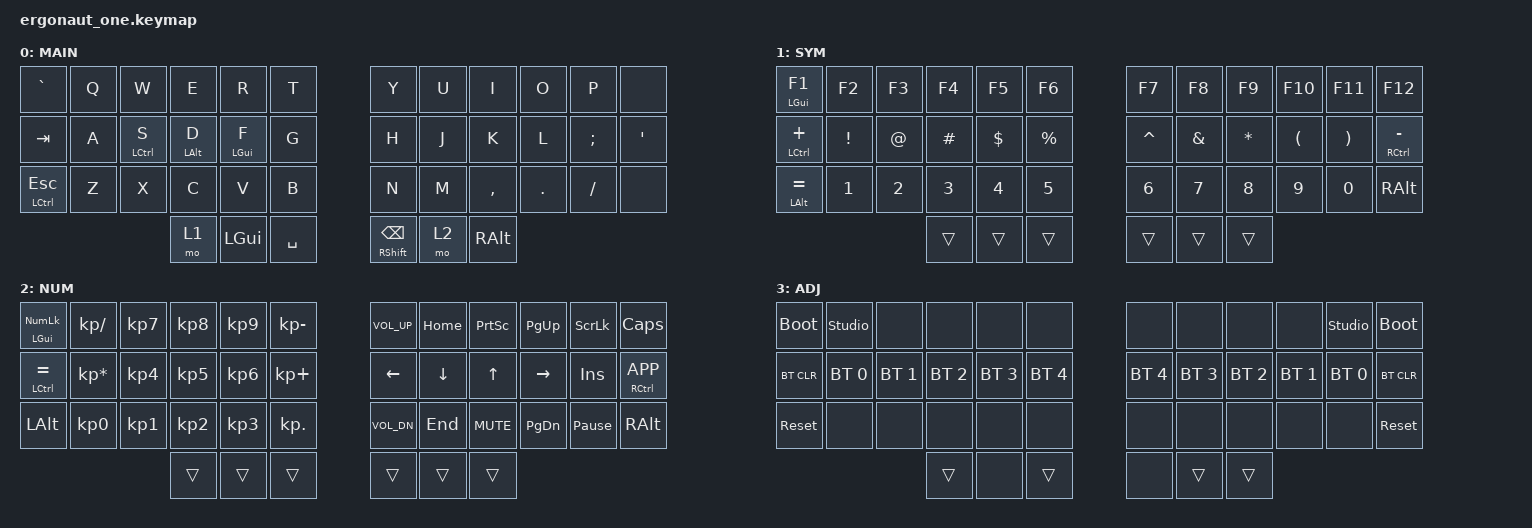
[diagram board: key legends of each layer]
#include <behaviors.dtsi>
#include <dt-bindings/zmk/bt.h>
#include <dt-bindings/zmk/keys.h>

#define DEF 0
#define LWR 1
#define RSE 2
#define ADJ 3

&lt { quick-tap-ms = <200>; };

&mt { quick-tap-ms = <200>; };

/ {
    conditional_layers {
        compatible = "zmk,conditional-layers";

        tri-layer {
            if-layers = <LWR RSE>;
            then-layer = <ADJ>;
        };
    };

    combos {
        compatible = "zmk,combos";

        jkl_enter {
            bindings = <&kp ENTER>;
            key-positions = <19 20 21>;
        };

        combo_bootloader {
            bindings = <&bootloader>;
            key-positions = <5 6>;
            layers = <3>;
        };
    };

    keymap {
        compatible = "zmk,keymap";

        default_layer {
            display-name = "MAIN";
            bindings = <
&kp GRAVE         &kp Q  &kp W        &kp E       &kp R         &kp T      &kp Y                 &kp U  &kp I      &kp O    &kp P     &none
&kp TAB           &kp A  &mt LCTRL S  &mt LALT D  &mt LGUI F    &kp G      &kp H                 &kp J  &kp K      &kp L    &kp SEMI  &kp SQT
&mt LCTRL ESCAPE  &kp Z  &kp X        &kp C       &kp V         &kp B      &kp N                 &kp M  &kp COMMA  &kp DOT  &kp FSLH  &none
                                      &mo 1       &kp LEFT_GUI  &kp SPACE  &mt RIGHT_SHIFT BSPC  &mo 2  &kp RALT
            >;
        };

        lower_layer {
            display-name = "SYM";
            bindings = <
&mt LGUI F1     &kp F2    &kp F3  &kp F4    &kp F5    &kp F6     &kp F7     &kp F8    &kp F9    &kp F10   &kp F11   &kp F12
&mt LCTRL PLUS  &kp EXCL  &kp AT  &kp HASH  &kp DLLR  &kp PRCNT  &kp CARET  &kp AMPS  &kp STAR  &kp LPAR  &kp RPAR  &mt RCTRL MINUS
&mt LALT EQUAL  &kp N1    &kp N2  &kp N3    &kp N4    &kp N5     &kp N6     &kp N7    &kp N8    &kp N9    &kp N0    &kp RALT
                                  &trans    &trans    &trans     &trans     &trans    &trans
            >;
        };

        raise_layer {
            display-name = "NUM";
            bindings = <
&mt LGUI KP_NUM  &kp KP_SLASH     &kp KP_N7  &kp KP_N8  &kp KP_N9  &kp KP_MINUS  &kp C_VOL_UP  &kp HOME  &kp PSCRN   &kp PG_UP  &kp SLCK         &kp CLCK
&mt LCTRL EQUAL  &kp KP_MULTIPLY  &kp KP_N4  &kp KP_N5  &kp KP_N6  &kp KP_PLUS   &kp LEFT      &kp DOWN  &kp UP      &kp RIGHT  &kp INS          &mt RCTRL K_APP
&kp LALT         &kp KP_N0        &kp KP_N1  &kp KP_N2  &kp KP_N3  &kp KP_DOT    &kp C_VOL_DN  &kp END   &kp C_MUTE  &kp PG_DN  &kp PAUSE_BREAK  &kp RALT
                                             &trans     &trans     &trans        &trans        &trans    &trans
            >;
        };

        adjust_layer {
            display-name = "ADJ";
            bindings = <
&bootloader  &studio_unlock  &none         &none         &none         &none         &none         &none         &none         &none         &studio_unlock  &bootloader
&bt BT_CLR   &bt BT_SEL 0    &bt BT_SEL 1  &bt BT_SEL 2  &bt BT_SEL 3  &bt BT_SEL 4  &bt BT_SEL 4  &bt BT_SEL 3  &bt BT_SEL 2  &bt BT_SEL 1  &bt BT_SEL 0    &bt BT_CLR
&sys_reset   &none           &none         &none         &none         &none         &none         &none         &none         &none         &none           &sys_reset
                                           &trans        &none         &trans        &none         &trans        &trans
            >;
        };
    };
};
